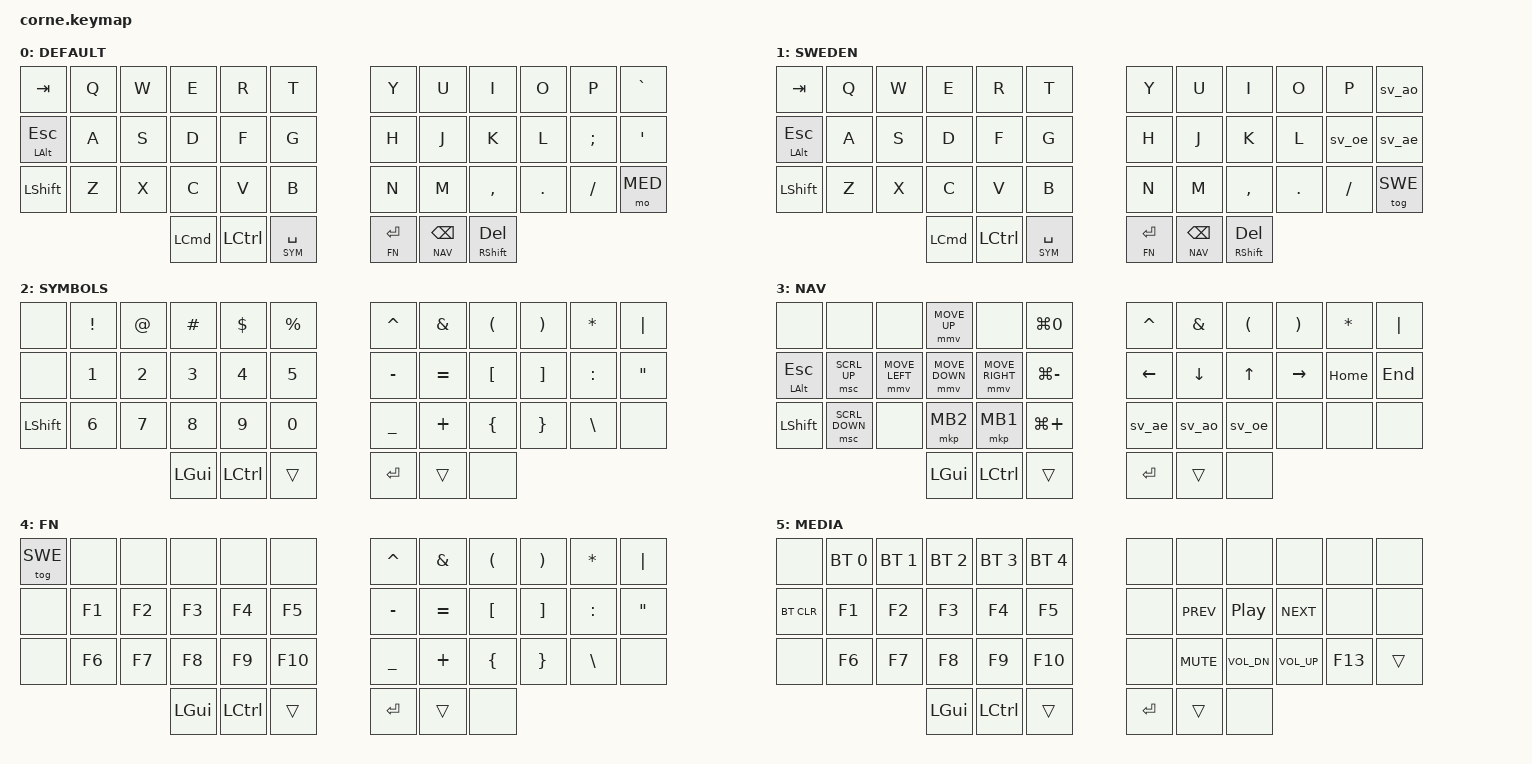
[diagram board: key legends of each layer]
/*
 * Copyright (c) 2020 The ZMK Contributors
 *
 * SPDX-License-Identifier: MIT
 */

#include <behaviors.dtsi>
#include <dt-bindings/zmk/keys.h>
#include <dt-bindings/zmk/behaviors.h>
#include <dt-bindings/zmk/bt.h>
#include <dt-bindings/zmk/pointing.h>

#define HOST_OS 2
#include "zmk-helpers/helper.h"
#include "zmk-helpers/unicode-chars/swedish.dtsi"

#define ZMK_POINTING_DEFAULT_MOVE_VAL 2000  // default: 600
#define ZMK_POINTING_DEFAULT_SCRL_VAL 30    // default: 10

#define DEF 0
#define SWE 1
#define SYM 2
#define NAV 3
#define FN 4
#define MED 5

#define OPT_ESC &mt LALT ESC
#define NAV_BSPC &lt NAV BSPC 
#define RSHFT_DEL &mt RSHFT DEL 
#define SYM_SPACE &lt SYM SPACE
#define FN_RET &lt FN RET

// Mouse Movements
#define M_UP &mmv MOVE_UP
#define M_DOWN &mmv MOVE_DOWN
#define M_LEFT &mmv MOVE_LEFT
#define M_RIGHT &mmv MOVE_RIGHT

// BLUETOOTH
#define BT1 &bt BT_SEL 0
#define BT2 &bt BT_SEL 1
#define BT3 &bt BT_SEL 2
#define BT4 &bt BT_SEL 3
#define BT5 &bt BT_SEL 4
#define BTCLR &bt BT_CLR


// 
//,-----------------------------------.              ,-----------------------------------.
//|  0 |  1 |  2 |  3 |  4 |  5 |      |              |      |  6 |  7 |  8 |  9 | 10 | 11 |
//|----+----+----+----+----+----|      |              |      |----+----+----+----+----+----|
//| 12 | 13 | 14 | 15 | 16 | 17 |      |              |      | 18 | 19 | 20 | 21 | 22 | 23 |
//|----+----+----+----+----+----|      |              |      |----+----+----+----+----+----|
//| 24 | 25 | 26 | 27 | 28 | 29 |      |              |      | 30 | 31 | 32 | 33 | 34 | 35 |
//`--------------------------+--+--+--+              +--+--+--+--------------------------'
//                       | 36| 37| 38|                | 39| 40| 41|
//                       `-----------'                `-----------'

/ {
        macros {

        };
};

&mt {
    flavor = "tap-preferred";
};

// / {
//     behaviors {
//         mt: mod_tap {
//             compatible = "zmk,behavior-hold-tap";
//             #binding-cells = <2>;
//             flavor = "tap-preferred";
//             tapping-term-ms = <200>;
//             bindings = <&kp LALT &kp ESC>;
//             display-name = "Mod-Tap";
//         };
//     };
// };

/ {

        combos {
            compatible = "zmk,combos";
            combo_copy {
                timeout-ms = <50>;
                key-positions = <27 28>;
                bindings = <&kp LG(C)>;
                slow-release;
                layers = <0 1>;
            };

            combo_paste {
                timeout-ms = <50>;
                key-positions = <28 29>;
                bindings = <&kp LG(V)>;
                slow-release;
                layers = <0 1>;
            };

            combo_screenshot {
                timeout-ms = <50>;
                key-positions = <13 14 15>;
                bindings = <&kp LC(LS(S))>;
                slow-release;
                layers = <0 1>;
            };
        };
};

/ {
        keymap {
                compatible = "zmk,keymap";

                default {
                        display-name = "DEFAULT";
                        bindings = <
// --------- | ----- | ----- | ----- | ----- | ----- |            | ----- | ----- | --------- | ------- | -------- | --------- |
   &kp TAB     &kp Q   &kp W   &kp E   &kp R   &kp T                &kp Y   &kp U     &kp I      &kp O      &kp P    &kp GRAVE
// --------- | ----- | ----- | ----- | ----- | ----- |            | ----- | ----- | --------- | ------- | -------- | --------- |
   OPT_ESC     &kp A   &kp S   &kp D   &kp F   &kp G                &kp H   &kp J     &kp K      &kp L    &kp SEMI    &kp SQT 
// --------- | ----- | ----- | ----- | ----- | ----- |            | ----- | ----- | --------- | ------- |--------- | --------- |
   &kp LSHFT   &kp Z   &kp X   &kp C   &kp V   &kp B                &kp N   &kp M   &kp COMMA   &kp DOT   &kp FSLH    &mo MED 
                   // | -------- | --------- | --------- |    | ------- | -------- | --------- |
                        &kp LCMD   &kp LCTRL   SYM_SPACE         FN_RET   NAV_BSPC   RSHFT_DEL
                        >;
                };

                swedish {
                        display-name = "SWEDEN";
                        bindings = <
// --------- | ----- | ----- | ----- | ----- | ----- |            | ----- | ----- | --------- | ------- | -------- | --------- |
    &kp TAB    &kp Q   &kp W   &kp E   &kp R   &kp T                &kp Y   &kp U     &kp I      &kp O      &kp P     &sv_ao
// --------- | ----- | ----- | ----- | ----- | ----- |            | ----- | ----- | --------- | ------- | -------- | --------- |
    OPT_ESC    &kp A   &kp S   &kp D   &kp F   &kp G                &kp H   &kp J     &kp K      &kp L     &sv_oe     &sv_ae 
// --------- | ----- | ----- | ----- | ----- | ----- |            | ----- | ----- | --------- | ------- |--------- | --------- |
   &kp LSHFT   &kp Z   &kp X   &kp C   &kp V   &kp B                &kp N   &kp M   &kp COMMA   &kp DOT   &kp FSLH    &tog SWE 
                   // | -------- | --------- | --------- |    | ------- | -------- | --------- |
                        &kp LCMD   &kp LCTRL   SYM_SPACE        FN_RET    NAV_BSPC   RSHFT_DEL
                        >;
                };

                symbols {
                        display-name = "SYMBOLS";
                        bindings = <
// --------- | -------- | ------ | -------- | -------- | --------- |        | --------- | --------- | -------- | -------- | --------- | -------- |
     &none     &kp EXCL   &kp AT   &kp HASH   &kp DLLR   &kp PRCNT            &kp CARET   &kp AMPS    &kp LPAR   &kp RPAR   &kp STAR    &kp PIPE
// --------- | -------- | ------ | ---------| -------- | --------- |        | --------- | --------- | -------- | -------- | --------- | -------- |
     &none      &kp N1    &kp N2    &kp N3     &kp N4     &kp N5              &kp MINUS   &kp EQUAL   &kp LBKT   &kp RBKT   &kp COLON   &kp DQT
// --------- | -------- | ------ | -------- | -------- | --------- |        | --------- | --------- | -------- | -------- | --------- | -------- |
   &kp LSHFT    &kp N6    &kp N7    &kp N8     &kp N9     &kp N0              &kp UNDER   &kp PLUS    &kp LBRC   &kp RBRC   &kp BSLH    &none
                                  // | -------- | --------- | ------ |    | ------- | ------ | ----- |
                                       &kp LGUI   &kp LCTRL   &trans        &kp RET   &trans   &none
                        >;
                };

                navigation {
                        display-name = "NAV";
                        bindings = <
//,--------|--------|--------|------|-------|--------|              |-------|--------|--------|--------|--------|---------|
   &none     &none    &none    M_UP   &none   &kp LG(N0)                  &kp CARET   &kp AMPS   &kp LPAR   &kp RPAR   &kp STAR   &kp PIPE
//,------|---------------|--------|--------|---------|------|       |---------|----------|--------|-----------|----------|---------|
   OPT_ESC    &msc SCRL_UP   M_LEFT   M_DOWN   M_RIGHT   &kp LG(MINUS)         &kp LEFT   &kp DOWN   &kp UP   &kp RIGHT   &kp HOME   &kp END
//,--------- |---------------|-------|----------|----------|------|  |-------|--------|--------|--------|--------|---------|
   &kp LSHFT  &msc SCRL_DOWN   &none   &mkp MB2   &mkp MB1   &kp LG(PLUS)   &sv_ae    &sv_ao   &sv_oe   &none &none  &none
//,-----------------------------------------------------|                    |-----------------------------------------------------|
                                 &kp LGUI  &kp LCTRL  &trans        &kp RET  &trans   &none
                        >;
                };

                function {
                        display-name = "FN";
                        bindings = <
// --------- | -------- | ------ | -------- | -------- | --------- |        | --------- | --------- | -------- | -------- | --------- | -------- |
    &tog SWE     &none    &none     &none      &none       &none              &kp CARET   &kp AMPS    &kp LPAR   &kp RPAR   &kp STAR    &kp PIPE
// --------- | -------- | ------ | ---------| -------- | --------- |        | --------- | --------- | -------- | -------- | --------- | -------- |
     &none     &kp F1    &kp F2    &kp F3     &kp F4     &kp F5              &kp MINUS   &kp EQUAL   &kp LBKT   &kp RBKT   &kp COLON   &kp DQT
// --------- | -------- | ------ | -------- | -------- | --------- |        | --------- | --------- | -------- | -------- | --------- | -------- |
     &none     &kp F6    &kp F7    &kp F8     &kp F9     &kp F10              &kp UNDER   &kp PLUS    &kp LBRC   &kp RBRC   &kp BSLH    &none
                                  // | -------- | --------- | ------ |    | ------- | ------ | ----- |
                                       &kp LGUI   &kp LCTRL   &trans        &kp RET   &trans   &none
                        >;
                };

                media {
                        display-name = "MEDIA";
                        bindings = <
// --------- | -------- | ------ | -------- | -------- | --------- |        | --------- | ---------- | ------------ | ------------ | --------- | -------- |
     &none       BT1       BT2       BT3        BT4        BT5                  &none       &none         &none           &none        &none      &none
// --------- | -------- | ------ | ---------| -------- | --------- |        | --------- | ---------- | ------------ | ------------ | --------- | -------- |
     BTCLR      &kp F1    &kp F2    &kp F3     &kp F4     &kp F5                &none     &kp C_PREV     &kp C_PP     &kp C_NEXT       &none      &none
// --------- | -------- | ------ | -------- | -------- | --------- |        | --------- | ---------- | ------------ | ------------ | --------- | -------- |
     &none      &kp F6    &kp F7    &kp F8     &kp F9     &kp F10               &none     &kp C_MUTE   &kp C_VOL_DN   &kp C_VOL_UP    &kp F13     &trans
                                  // | -------- | --------- | ------ |    | ------- | ------ | ----- |
                                       &kp LGUI   &kp LCTRL   &trans        &kp RET   &trans   &none
                        >;
                };
        };

};

